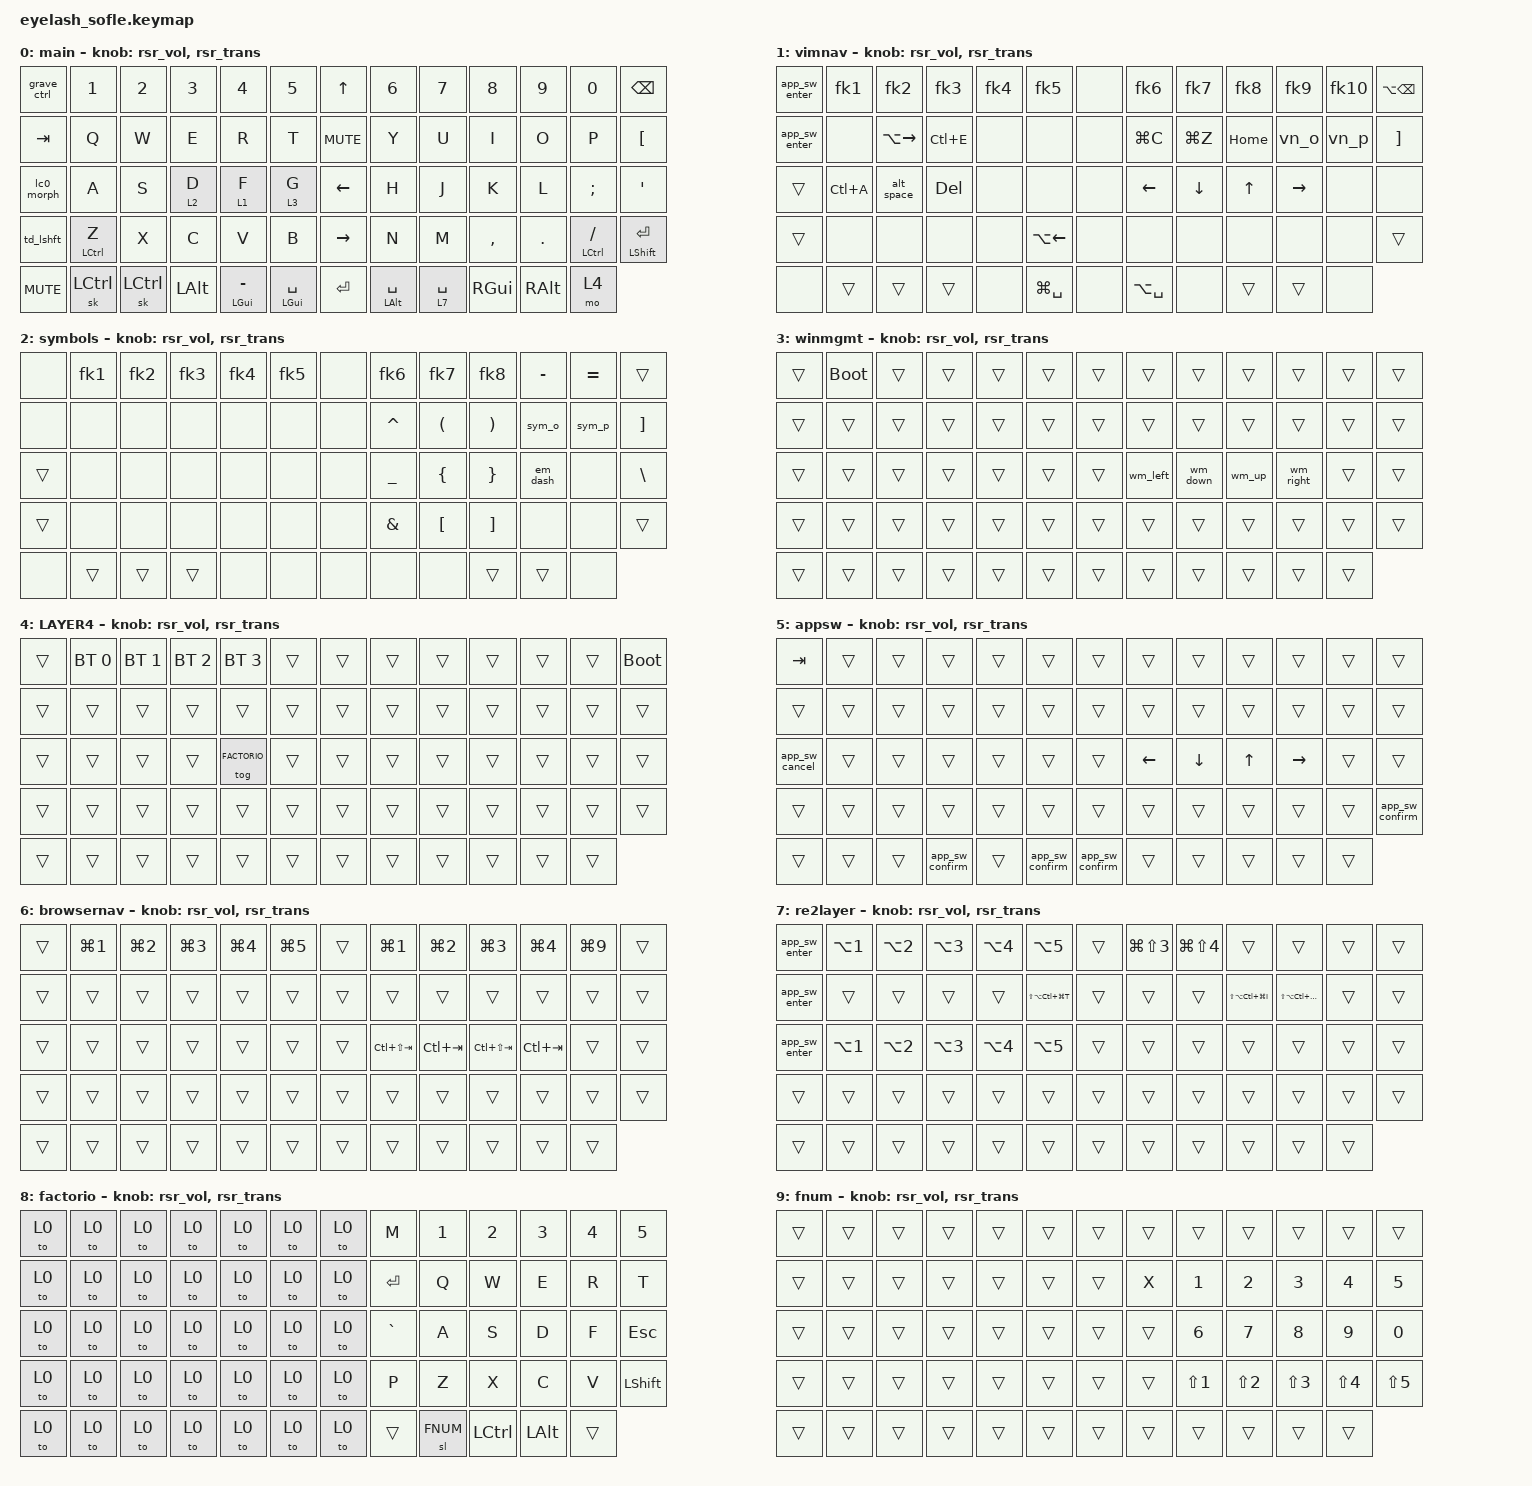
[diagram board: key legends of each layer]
#define ZMK_POINTING_DEFAULT_MOVE_VAL 1200  // 600
#define ZMK_POINTING_DEFAULT_SCRL_VAL 25   // 10
#define APP_SW 5
#define FACTORIO 8
#define FNUM 9

#include <input/processors.dtsi>
#include <zephyr/dt-bindings/input/input-event-codes.h>
#include <behaviors.dtsi>
#include <behaviors/runtime-sensor-rotate.dtsi>
#include <dt-bindings/zmk/bt.h>
#include <dt-bindings/zmk/keys.h>
#include <dt-bindings/zmk/outputs.h>
#include <dt-bindings/zmk/pointing.h>
#include <dt-bindings/zmk/rgb.h>

&mmv_input_listener { input-processors = <&zip_xy_scaler 2 1>; };

&msc_input_listener { input-processors = <&zip_scroll_scaler 2 1>; };

&msc {
    acceleration-exponent = <1>;      // 0
    time-to-max-speed-ms = <100>;       // 300
    delay-ms = <0>;                   // 0
};

&mmv {
    time-to-max-speed-ms = <500>;
    acceleration-exponent = <1>;
    trigger-period-ms = <16>;
};

&soft_off { hold-time-ms = <2000>; };

/ {
    scroll_encoder: scroll_encoder {
        compatible = "zmk,behavior-sensor-rotate";
        #sensor-binding-cells = <0>;
        bindings = <&msc SCRL_DOWN>, <&msc SCRL_UP>;

        tap-ms = <100>;
    };

    behaviors {
        rsr_vol: rsr_vol {
            compatible = "zmk,behavior-runtime-sensor-rotate";
            #sensor-binding-cells = <0>;
            tap-ms = <5>;
            cw-binding = <&kp C_VOL_UP>;
            ccw-binding = <&kp C_VOL_DN>;
        };

        rsr_trans: rsr_trans {
            compatible = "zmk,behavior-runtime-sensor-rotate";
            #sensor-binding-cells = <0>;
            tap-ms = <0>;
        };

        grave_cmd: grave_cmd {
            compatible = "zmk,behavior-mod-morph";
            #binding-cells = <0>;
            bindings = <&kp GRAVE>, <&kp TAB>;
            mods = <(MOD_LGUI|MOD_RGUI)>;
            keep-mods = <(MOD_LGUI|MOD_RGUI)>;
        };

        grave_alt: grave_alt {
            compatible = "zmk,behavior-mod-morph";
            #binding-cells = <0>;
            bindings = <&grave_cmd>, <&kp LG(GRAVE)>;
            mods = <(MOD_LALT|MOD_RALT)>;
        };

        shift_ctrl: shift_ctrl {
            compatible = "zmk,behavior-hold-tap";
            #binding-cells = <2>;
            bindings = <&kp>, <&sk>;
            tapping-term-ms = <200>;
            flavor = "tap-preferred";
            quick-tap-ms = <125>;
        };

        lc0_morph: lc0_morph {
            compatible = "zmk,behavior-mod-morph";
            #binding-cells = <0>;
            bindings = <&mt LS(LA(LC(LGUI))) ESC>, <&kp LSHFT>;
            mods = <(MOD_LCTL)>;
            keep-mods = <(MOD_LCTL)>;
        };

        grave_ctrl: grave_ctrl {
            compatible = "zmk,behavior-mod-morph";
            #binding-cells = <0>;
            bindings = <&grave_alt>, <&kp TAB>;
            mods = <(MOD_LCTL|MOD_RCTL)>;
            keep-mods = <(MOD_LCTL|MOD_RCTL)>;
        };

        space_mod: space_mod {
            compatible = "zmk,behavior-hold-tap";
            #binding-cells = <2>;
            bindings = <&kp>, <&kp>;
            tapping-term-ms = <300>;
            flavor = "tap-preferred";
            quick-tap-ms = <125>;
        };

        td_lshft: td_lshft {
            compatible = "zmk,behavior-tap-dance";
            #binding-cells = <0>;
            tapping-term-ms = <200>;
            bindings = <&kp LSHFT>, <&caps_word>;
        };

        td_rshft: td_rshft {
            compatible = "zmk,behavior-tap-dance";
            #binding-cells = <0>;
            tapping-term-ms = <200>;
            bindings = <&mt LSHFT ENTER>, <&caps_word>;
        };

        wm_left: wm_left {
            compatible = "zmk,behavior-mod-morph";
            #binding-cells = <0>;
            bindings = <&kp LS(LA(LC(LG(LEFT))))>, <&kp LA(LC(LG(LEFT)))>;
            mods = <(MOD_LGUI|MOD_RGUI)>;
        };

        wm_down: wm_down {
            compatible = "zmk,behavior-mod-morph";
            #binding-cells = <0>;
            bindings = <&kp LS(LA(LC(LG(DOWN))))>, <&kp LA(LC(LG(DOWN)))>;
            mods = <(MOD_LGUI|MOD_RGUI)>;
        };

        wm_up: wm_up {
            compatible = "zmk,behavior-mod-morph";
            #binding-cells = <0>;
            bindings = <&kp LS(LA(LC(LG(UP))))>, <&kp LA(LC(LG(UP)))>;
            mods = <(MOD_LGUI|MOD_RGUI)>;
        };

        wm_right: wm_right {
            compatible = "zmk,behavior-mod-morph";
            #binding-cells = <0>;
            bindings = <&kp LS(LA(LC(LG(RIGHT))))>, <&kp LA(LC(LG(RIGHT)))>;
            mods = <(MOD_LGUI|MOD_RGUI)>;
        };

        appsw_cmd: appsw_cmd {
            compatible = "zmk,behavior-mod-morph";
            #binding-cells = <0>;
            bindings = <&kp GRAVE>, <&app_sw_enter>;
            mods = <(MOD_LGUI|MOD_RGUI)>;
        };

        fk1: fk1 {
            compatible = "zmk,behavior-mod-morph";
            #binding-cells = <0>;
            bindings = <&kp EXCL>, <&kp F1>;
            mods = <(MOD_LGUI|MOD_RGUI)>;
        };

        fk2: fk2 {
            compatible = "zmk,behavior-mod-morph";
            #binding-cells = <0>;
            bindings = <&kp AT>, <&kp F2>;
            mods = <(MOD_LGUI|MOD_RGUI)>;
        };

        fk3: fk3 {
            compatible = "zmk,behavior-mod-morph";
            #binding-cells = <0>;
            bindings = <&kp HASH>, <&kp F3>;
            mods = <(MOD_LGUI|MOD_RGUI)>;
        };

        fk4: fk4 {
            compatible = "zmk,behavior-mod-morph";
            #binding-cells = <0>;
            bindings = <&kp DLLR>, <&kp F4>;
            mods = <(MOD_LGUI|MOD_RGUI)>;
        };

        fk5: fk5 {
            compatible = "zmk,behavior-mod-morph";
            #binding-cells = <0>;
            bindings = <&kp PRCNT>, <&kp F5>;
            mods = <(MOD_LGUI|MOD_RGUI)>;
        };

        fk6: fk6 {
            compatible = "zmk,behavior-mod-morph";
            #binding-cells = <0>;
            bindings = <&kp CARET>, <&kp F6>;
            mods = <(MOD_LGUI|MOD_RGUI)>;
        };

        fk7: fk7 {
            compatible = "zmk,behavior-mod-morph";
            #binding-cells = <0>;
            bindings = <&kp AMPS>, <&kp F7>;
            mods = <(MOD_LGUI|MOD_RGUI)>;
        };

        fk8: fk8 {
            compatible = "zmk,behavior-mod-morph";
            #binding-cells = <0>;
            bindings = <&kp ASTRK>, <&kp F8>;
            mods = <(MOD_LGUI|MOD_RGUI)>;
        };

        fk9: fk9 {
            compatible = "zmk,behavior-mod-morph";
            #binding-cells = <0>;
            bindings = <&kp N9>, <&kp F9>;
            mods = <(MOD_LGUI|MOD_RGUI)>;
        };

        fk10: fk10 {
            compatible = "zmk,behavior-mod-morph";
            #binding-cells = <0>;
            bindings = <&kp N0>, <&kp F10>;
            mods = <(MOD_LGUI|MOD_RGUI)>;
        };

        vn_o: vn_o {
            compatible = "zmk,behavior-mod-morph";
            #binding-cells = <0>;
            bindings = <&none>, <&kp F11>;
            mods = <(MOD_LGUI|MOD_RGUI)>;
        };

        vn_p: vn_p {
            compatible = "zmk,behavior-mod-morph";
            #binding-cells = <0>;
            bindings = <&kp LG(V)>, <&kp F12>;
            mods = <(MOD_LGUI|MOD_RGUI)>;
        };

        sym_o: sym_o {
            compatible = "zmk,behavior-mod-morph";
            #binding-cells = <0>;
            bindings = <&kp PLUS>, <&kp F11>;
            mods = <(MOD_LGUI|MOD_RGUI)>;
        };

        sym_p: sym_p {
            compatible = "zmk,behavior-mod-morph";
            #binding-cells = <0>;
            bindings = <&kp EQUAL>, <&kp F12>;
            mods = <(MOD_LGUI|MOD_RGUI)>;
        };

        lt_tp: lt_tp {
            compatible = "zmk,behavior-hold-tap";
            #binding-cells = <2>;
            bindings = <&mo>, <&kp>;
            tapping-term-ms = <300>;
            flavor = "tap-preferred";
            quick-tap-ms = <125>;
        };

        mt_tp: mt_tp {
            compatible = "zmk,behavior-hold-tap";
            #binding-cells = <2>;
            bindings = <&kp>, <&kp>;
            tapping-term-ms = <200>;
            flavor = "tap-preferred";
            quick-tap-ms = <125>;
        };

        em_dash: em_dash {
            compatible = "zmk,behavior-mod-morph";
            #binding-cells = <0>;
            bindings = <&kp MINUS>, <&kp LS(LA(MINUS))>;
            mods = <(MOD_LGUI|MOD_RGUI)>;
        };

    };

    combos {
        compatible = "zmk,combos";

        softoff {
            bindings = <&soft_off>;
            key-positions = <14 28 40>;
        };

        vimnav_combo {
            bindings = <&mo 1>;
            key-positions = <34 35>;
            timeout-ms = <100>;
            require-prior-idle-ms = <200>;
            slow-release;
        };

        browser_nav_combo {
            bindings = <&mo 6>;
            key-positions = <43 44>;
            timeout-ms = <100>;
            require-prior-idle-ms = <200>;
            slow-release;
        };

    };

    macros {
        app_sw_enter: app_sw_enter {
            compatible = "zmk,behavior-macro";
            #binding-cells = <0>;
            bindings =
                <&macro_press>,
                <&kp LGUI>,
                <&macro_wait_time 80>,
                <&macro_tap>,
                <&kp TAB>,
                <&macro_tap>,
                <&to APP_SW>;
        };

        app_sw_confirm: app_sw_confirm {
            compatible = "zmk,behavior-macro";
            #binding-cells = <0>;
            bindings =
                <&macro_release>,
                <&kp LGUI>,
                <&macro_tap>,
                <&kp ENTER>,
                <&macro_tap>,
                <&to 0>;
        };

        app_sw_cancel: app_sw_cancel {
            compatible = "zmk,behavior-macro";
            #binding-cells = <0>;
            bindings =
                <&macro_release>,
                <&kp LGUI>,
                <&macro_tap>,
                <&kp ESC>,
                <&macro_tap>,
                <&to 0>;
        };

        alt_space: alt_space {
            compatible = "zmk,behavior-macro";
            #binding-cells = <0>;
            wait-ms = <40>;
            tap-ms = <40>;
            bindings =
                <&macro_press>,
                <&kp LALT>,
                <&macro_tap>,
                <&kp SPACE>,
                <&macro_release>,
                <&kp LALT>;

            label = "alt_space";
        };

        SHIFT_MCLK: SHIFT_MCLK {
            compatible = "zmk,behavior-macro";
            #binding-cells = <0>;
            bindings =
                <&macro_press>,
                <&kp LEFT_SHIFT>,
                <&macro_press>,
                <&mkp MB3>,
                <&macro_pause_for_release>,
                <&macro_release>,
                <&kp LEFT_SHIFT &mkp MB3>;

            label = "SHIFT_MCLK";
        };
    };

    keymap {
        compatible = "zmk,keymap";

        layer0 {
            bindings = <
// LA0       LA1        LA2           LA3           LA4     LA5       | MA |           RA0     RA1      RA2     RA3              RA4          RA5
&grave_ctrl  &kp N1     &kp N2        &kp N3        &kp N4  &kp N5    &kp UP_ARROW     &kp N6  &kp N7   &kp N8  &kp N9           &kp N0       &kp BACKSPACE
// LB0      LB1        LB2           LB3           LB4     LB5          | MB |           RB0        RB1        RB2        RB3              RB4         RB5
&kp TAB     &kp Q      &kp W         &kp E         &kp R   &kp T        &kp C_MUTE       &kp Y      &kp U      &kp I      &kp O            &kp P       &kp LBKT
// LC0        LC1        LC2           LC3           LC4      LC5            | MC |           RC0        RC1        RC2        RC3              RC4         RC5
&lc0_morph    &kp A      &kp S         &lt 2 D       &lt 1 F  &lt 3 G        &kp LEFT_ARROW   &kp H      &kp J      &kp K      &kp L            &kp SEMI    &kp APOS
// LD0      LD1                 LD2           LD3           LD4     LD5          | MD |           RD0        RD1        RD2        RD3              RD4         RD5
&td_lshft   &mt_tp LCTRL Z      &kp X         &kp C         &kp V   &kp B        &kp RIGHT_ARROW  &kp N      &kp M      &kp COMMA  &kp DOT          &mt_tp LCTRL FSLH    &mt LSHFT ENTER
// LE0      LE1           LE2        LE3       LE4                LE5                      | ME |           RE0                    RE1             RE2       RE3           RE4
&kp C_MUTE  &sk LCTRL     &sk LCTRL  &kp LALT  &mt LGUI MINUS     &space_mod LGUI SPACE    &kp ENTER        &space_mod LALT SPACE  &lt_tp 7 SPACE  &kp RGUI  &kp RALT      &mo 4
            >;

            sensor-bindings = <&rsr_vol &rsr_trans>;
            display-name = "main";
        };

        layer_1 {
            bindings = <
// LA0          LA1    LA2    LA3    LA4    LA5      | MA |  RA0    RA1    RA2    RA3    RA4     RA5
&app_sw_enter   &fk1   &fk2   &fk3   &fk4   &fk5     &none   &fk6   &fk7   &fk8   &fk9   &fk10   &kp LA(BACKSPACE)
// LB0          LB1     LB2             LB3         LB4     LB5       | MB |  RB0        RB1         RB2        RB3     RB4    RB5
&app_sw_enter   &none   &kp LA(RIGHT)   &kp LC(E)   &none   &none     &none   &kp LG(C)  &kp LG(Z)   &kp HOME   &vn_o   &vn_p  &kp RBKT
// LC0   LC1         LC2             LC3       LC4     LC5       | MC |  RC0        RC1      RC2     RC3       RC4    RC5
&trans   &kp LC(A)   &alt_space      &kp DEL   &none   &none     &none   &kp LEFT   &kp DOWN &kp UP  &kp RIGHT &none  &none
// LD0  LD1     LD2     LD3     LD4     LD5              | MD |  RD0     RD1     RD2     RD3     RD4     RD5
&trans  &none   &none   &none   &none   &kp LA(LEFT)     &none   &none   &none   &none   &none   &none   &trans
// LE0  LE1      LE2      LE3      LE4     LE5               | ME |  RE0             RE1     RE2      RE3      RE4
&none   &trans   &trans   &trans   &none   &kp LG(SPACE)     &none   &kp LA(SPACE)   &none   &trans   &trans   &none
            >;

            sensor-bindings = <&rsr_vol &rsr_trans>;
            display-name = "vimnav";
        };

        layer_2 {
            bindings = <
// LA0  LA1    LA2    LA3    LA4    LA5      | MA |  RA0    RA1    RA2    RA3         RA4          RA5
&none   &fk1   &fk2   &fk3   &fk4   &fk5     &none   &fk6   &fk7   &fk8   &kp MINUS   &kp EQUAL    &trans
// LB0  LB1     LB2     LB3     LB4     LB5       | MB |  RB0          RB1        RB2        RB3      RB4      RB5
&none   &none   &none   &none   &none   &none     &none   &kp CARET    &kp LPAR   &kp RPAR   &sym_o   &sym_p   &kp RBKT
// LC0   LC1     LC2     LC3     LC4     LC5       | MC |  RC0              RC1        RC2        RC3        RC4     RC5
&trans   &none   &none   &none   &none   &none     &none   &kp UNDER        &kp LBRC   &kp RBRC   &em_dash   &none   &kp BSLH
// LD0  LD1     LD2     LD3     LD4     LD5       | MD |  RD0             RD1        RD2        RD3     RD4     RD5
&trans  &none   &none   &none   &none   &none     &none   &kp AMPS        &kp LBKT   &kp RBKT   &none   &none   &trans
// LE0  LE1      LE2      LE3      LE4     LE5       | ME |  RE0     RE1     RE2      RE3      RE4
&none   &trans   &trans   &trans   &none   &none     &none   &none   &none   &trans   &trans   &none
            >;

            display-name = "symbols";
            sensor-bindings = <&rsr_vol &rsr_trans>;
        };

        layer_3 {
            bindings = <
// LA0  LA1          LA2     LA3     LA4     LA5       | MA |  RA0     RA1     RA2     RA3     RA4     RA5
&trans  &bootloader  &trans  &trans  &trans  &trans    &trans  &trans  &trans  &trans  &trans  &trans  &trans
// LB0  LB1     LB2     LB3     LB4     LB5       | MB |  RB0     RB1     RB2     RB3     RB4     RB5
&trans  &trans  &trans  &trans  &trans  &trans    &trans  &trans  &trans  &trans  &trans  &trans  &trans
// LC0  LC1     LC2     LC3     LC4     LC5       | MC |  RC0       RC1       RC2     RC3        RC4     RC5
&trans  &trans  &trans  &trans  &trans  &trans    &trans  &wm_left  &wm_down  &wm_up  &wm_right  &trans  &trans
// LD0  LD1     LD2     LD3     LD4     LD5       | MD |  RD0     RD1     RD2     RD3     RD4     RD5
&trans  &trans  &trans  &trans  &trans  &trans    &trans  &trans  &trans  &trans  &trans  &trans  &trans
// LE0  LE1     LE2     LE3     LE4     LE5       | ME |  RE0     RE1     RE2     RE3     RE4
&trans  &trans  &trans  &trans  &trans  &trans    &trans  &trans  &trans  &trans  &trans  &trans
            >;

            display-name = "winmgmt";
            sensor-bindings = <&rsr_vol &rsr_trans>;
        };

        layer_4 {
            bindings = <
// LA0  LA1            LA2            LA3            LA4            LA5       | MA |  RA0     RA1     RA2     RA3     RA4     RA5
&trans  &bt BT_SEL 0   &bt BT_SEL 1   &bt BT_SEL 2   &bt BT_SEL 3   &trans    &trans  &trans  &trans  &trans  &trans  &trans  &bootloader
// LB0  LB1     LB2     LB3     LB4     LB5       | MB |  RB0     RB1     RB2     RB3     RB4     RB5
&trans  &trans  &trans  &trans  &trans  &trans    &trans  &trans  &trans  &trans  &trans  &trans  &trans
// LC0  LC1     LC2     LC3     LC4            LC5       | MC |  RC0     RC1     RC2     RC3     RC4     RC5
&trans  &trans  &trans  &trans  &tog FACTORIO  &trans    &trans  &trans  &trans  &trans  &trans  &trans  &trans
// LD0  LD1     LD2     LD3     LD4     LD5       | MD |  RD0     RD1     RD2     RD3     RD4     RD5
&trans  &trans  &trans  &trans  &trans  &trans    &trans  &trans  &trans  &trans  &trans  &trans  &trans
// LE0  LE1     LE2     LE3     LE4     LE5       | ME |  RE0     RE1     RE2     RE3     RE4
&trans  &trans  &trans  &trans  &trans  &trans    &trans  &trans  &trans  &trans  &trans  &trans
            >;

            display-name = "LAYER4";
            sensor-bindings = <&rsr_vol &rsr_trans>;
        };

        layer_5 {
            bindings = <
// LA0      LA1     LA2     LA3     LA4     LA5       | MA |  RA0     RA1     RA2     RA3     RA4     RA5
&kp TAB     &trans  &trans  &trans  &trans  &trans    &trans  &trans  &trans  &trans  &trans  &trans  &trans
// LB0  LB1     LB2     LB3     LB4     LB5       | MB |  RB0     RB1     RB2     RB3     RB4     RB5
&trans  &trans  &trans  &trans  &trans  &trans    &trans  &trans  &trans  &trans  &trans  &trans  &trans
// LC0          LC1     LC2     LC3     LC4     LC5       | MC |  RC0        RC1        RC2      RC3        RC4     RC5
&app_sw_cancel  &trans  &trans  &trans  &trans  &trans    &trans  &kp LEFT   &kp DOWN   &kp UP   &kp RIGHT  &trans  &trans
// LD0  LD1     LD2     LD3     LD4     LD5       | MD |  RD0     RD1     RD2     RD3     RD4     RD5
&trans  &trans  &trans  &trans  &trans  &trans    &trans  &trans  &trans  &trans  &trans  &trans  &app_sw_confirm
// LE0  LE1     LE2     LE3              LE4     LE5                | ME |           RE0     RE1     RE2     RE3     RE4
&trans  &trans  &trans  &app_sw_confirm  &trans  &app_sw_confirm    &app_sw_confirm  &trans  &trans  &trans  &trans  &trans
            >;

            display-name = "appsw";
            sensor-bindings = <&rsr_vol &rsr_trans>;
        };

        layer_6 {
            bindings = <
// LA0  LA1          LA2          LA3          LA4          LA5            | MA |  RA0          RA1          RA2          RA3          RA4          RA5
&trans  &kp LG(N1)   &kp LG(N2)   &kp LG(N3)   &kp LG(N4)   &kp LG(N5)   &trans  &kp LG(N1)   &kp LG(N2)   &kp LG(N3)   &kp LG(N4)   &kp LG(N9)   &trans
// LB0  LB1     LB2     LB3     LB4     LB5       | MB |  RB0     RB1     RB2     RB3     RB4     RB5
&trans  &trans  &trans  &trans  &trans  &trans    &trans  &trans  &trans  &trans  &trans  &trans  &trans
// LC0  LC1     LC2     LC3     LC4     LC5       | MC |  RC0              RC1          RC2              RC3          RC4     RC5
&trans  &trans  &trans  &trans  &trans  &trans    &trans  &kp LC(LS(TAB))  &kp LC(TAB)  &kp LC(LS(TAB))  &kp LC(TAB)  &trans  &trans
// LD0  LD1     LD2     LD3     LD4     LD5       | MD |  RD0     RD1     RD2     RD3     RD4     RD5
&trans  &trans  &trans  &trans  &trans  &trans    &trans  &trans  &trans  &trans  &trans  &trans  &trans
// LE0  LE1     LE2     LE3     LE4     LE5       | ME |  RE0     RE1     RE2     RE3     RE4
&trans  &trans  &trans  &trans  &trans  &trans    &trans  &trans  &trans  &trans  &trans  &trans
            >;

            display-name = "browsernav";
            sensor-bindings = <&rsr_vol &rsr_trans>;
        };

        layer_7 {
            bindings = <
// LA0         LA1           LA2           LA3           LA4           LA5             | MA |  RA0             RA1             RA2     RA3     RA4     RA5
&app_sw_enter  &kp LA(N1)    &kp LA(N2)    &kp LA(N3)    &kp LA(N4)    &kp LA(N5)      &trans  &kp LG(LS(N3))  &kp LG(LS(N4))  &trans  &trans  &trans  &trans
// LB0         LB1     LB2     LB3     LB4     LB5                        | MB |  RB0     RB1     RB2                    RB3                    RB4     RB5
&app_sw_enter  &trans  &trans  &trans  &trans  &kp LS(LA(LC(LG(T))))      &trans  &trans  &trans  &kp LS(LA(LC(LG(I))))  &kp LS(LA(LC(LG(O))))  &trans  &trans
// LC0         LC1           LC2           LC3           LC4           LC5             | MC |  RC0     RC1     RC2     RC3     RC4     RC5
&app_sw_enter  &kp LA(N1)    &kp LA(N2)    &kp LA(N3)    &kp LA(N4)    &kp LA(N5)      &trans  &trans  &trans  &trans  &trans  &trans  &trans
// LD0  LD1     LD2     LD3     LD4     LD5         | MD |  RD0     RD1     RD2     RD3     RD4     RD5
&trans  &trans  &trans  &trans  &trans  &trans      &trans  &trans  &trans  &trans  &trans  &trans  &trans
// LE0  LE1     LE2     LE3     LE4     LE5         | ME |  RE0     RE1     RE2     RE3     RE4
&trans  &trans  &trans  &trans  &trans  &trans      &trans  &trans  &trans  &trans  &trans  &trans
            >;

            display-name = "re2layer";
            sensor-bindings = <&rsr_vol &rsr_trans>;
        };

        layer_8 {
            bindings = <
// LA0  LA1     LA2     LA3     LA4     LA5       | MA |  RA0        RA1       RA2       RA3       RA4       RA5
&to 0   &to 0   &to 0   &to 0   &to 0   &to 0     &to 0   &kp M      &kp N1    &kp N2    &kp N3    &kp N4    &kp N5
// LB0  LB1     LB2     LB3     LB4     LB5       | MB |  RB0        RB1       RB2       RB3       RB4       RB5
&to 0   &to 0   &to 0   &to 0   &to 0   &to 0     &to 0   &kp ENTER  &kp Q     &kp W     &kp E     &kp R     &kp T
// LC0  LC1     LC2     LC3     LC4     LC5       | MC |  RC0        RC1       RC2       RC3       RC4       RC5
&to 0   &to 0   &to 0   &to 0   &to 0   &to 0     &to 0   &kp GRAVE  &kp A     &kp S     &kp D     &kp F     &kp ESC
// LD0  LD1     LD2     LD3     LD4     LD5       | MD |  RD0        RD1       RD2       RD3       RD4       RD5
&to 0   &to 0   &to 0   &to 0   &to 0   &to 0     &to 0   &kp P      &kp Z     &kp X     &kp C     &kp V     &kp LSHFT
// LE0  LE1     LE2     LE3     LE4     LE5       | ME |  RE0     RE1        RE2          RE3         RE4
&to 0   &to 0   &to 0   &to 0   &to 0   &to 0     &to 0   &trans  &sl FNUM   &kp LCTRL    &kp LALT    &trans
            >;

            display-name = "factorio";
            sensor-bindings = <&rsr_vol &rsr_trans>;
        };

        layer_9 {
            bindings = <
// LA0  LA1     LA2     LA3     LA4     LA5       | MA |  RA0     RA1         RA2         RA3         RA4         RA5
&trans  &trans  &trans  &trans  &trans  &trans    &trans  &trans  &trans      &trans      &trans      &trans      &trans
// LB0  LB1     LB2     LB3     LB4     LB5       | MB |  RB0     RB1         RB2         RB3         RB4         RB5
&trans  &trans  &trans  &trans  &trans  &trans    &trans  &kp X   &kp N1      &kp N2      &kp N3      &kp N4      &kp N5
// LC0  LC1     LC2     LC3     LC4     LC5       | MC |  RC0     RC1         RC2         RC3         RC4         RC5
&trans  &trans  &trans  &trans  &trans  &trans    &trans  &trans  &kp N6      &kp N7      &kp N8      &kp N9      &kp N0
// LD0  LD1     LD2     LD3     LD4     LD5       | MD |  RD0     RD1         RD2         RD3         RD4         RD5
&trans  &trans  &trans  &trans  &trans  &trans    &trans  &trans  &kp LS(N1)  &kp LS(N2)  &kp LS(N3)  &kp LS(N4)  &kp LS(N5)
// LE0  LE1     LE2     LE3     LE4     LE5       | ME |  RE0     RE1     RE2     RE3     RE4
&trans  &trans  &trans  &trans  &trans  &trans    &trans  &trans  &trans  &trans  &trans  &trans
            >;

            display-name = "fnum";
            sensor-bindings = <&rsr_vol &rsr_trans>;
        };

    };
};
